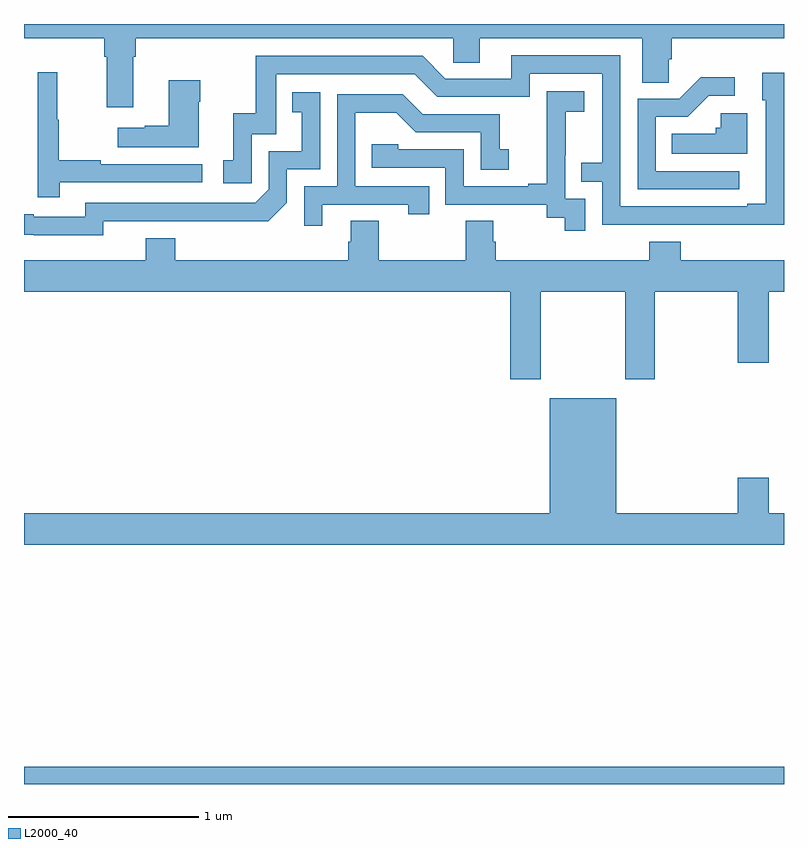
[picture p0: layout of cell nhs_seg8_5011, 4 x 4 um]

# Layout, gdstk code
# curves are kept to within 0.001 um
import gdstk
lib = gdstk.Library(unit=1e-6, precision=1e-09)
def R(c, l, rs):  # rectangles x0, y0, x1, y1
    for r in rs: c.add(gdstk.rectangle(r[:2], r[2:], *l))
def P(c, l, *ps):  # polygons
    for p in ps: c.add(gdstk.Polygon(p, *l))
L2000_40 = (2000, 40)

nhs_seg8_5011 = lib.new_cell('nhs_seg8_5011')
R(nhs_seg8_5011, L2000_40, [(413,1121.9,417,1121.992)])
P(nhs_seg8_5011, L2000_40, [(417,1125.9),(413,1125.9),(413,1125.824),(413.423,1125.824),(413.423,1125.728),(413.435,1125.728),(413.435,1125.462),(413.575,1125.462),(413.575,1125.728),(413.588,1125.728),(413.588,1125.824),(415.26,1125.824),(415.26,1125.697),(415.399,1125.697),(415.399,1125.824),(416.255,1125.824),(416.255,1125.592),(416.394,1125.592),(416.394,1125.715),(416.408,1125.715),(416.408,1125.824),(417,1125.824)],
  [(417,1125.643),(416.885,1125.643),(416.885,1125.498),(416.904,1125.498),(416.904,1124.953),(416.807,1124.953),(416.807,1124.94),(416.139,1124.94),(416.139,1125.735),(415.565,1125.735),(415.565,1125.612),(415.218,1125.612),(415.098,1125.732),(414.219,1125.732),(414.219,1125.43),(414.101,1125.43),(414.101,1125.183),(414.048,1125.183),(414.048,1125.063),(414.198,1125.063),(414.198,1125.321),(414.327,1125.321),(414.327,1125.636),(415.056,1125.636),(415.176,1125.516),(415.662,1125.516),(415.662,1125.639),(416.043,1125.639),(416.043,1125.17),(415.933,1125.17),(415.933,1125.069),(416.043,1125.069),(416.043,1124.844),(417,1124.843)],
  [(413.189,1125.066),(413.938,1125.066),(413.938,1125.162),(413.405,1125.162),(413.405,1125.182),(413.182,1125.182),(413.182,1125.396),(413.174,1125.396),(413.174,1125.646),(413.073,1125.646),(413.073,1124.988),(413.189,1124.988)],
  [(416.764,1125.126),(416.325,1125.126),(416.325,1125.411),(416.494,1125.411),(416.605,1125.522),(416.74,1125.522),(416.74,1125.62),(416.561,1125.62),(416.448,1125.507),(416.229,1125.507),(416.229,1125.03),(416.764,1125.03)],
  [(413.92,1125.491),(413.928,1125.491),(413.928,1125.604),(413.762,1125.604),(413.762,1125.365),(413.636,1125.365),(413.636,1125.355),(413.493,1125.355),(413.493,1125.251),(413.92,1125.251)],
  [(415.953,1124.979),(415.848,1124.979),(415.848,1125.209),(415.85,1125.209),(415.85,1125.437),(415.948,1125.437),(415.948,1125.547),(415.75,1125.547),(415.75,1125.341),(415.751,1125.341),(415.751,1125.058),(415.655,1125.058),(415.655,1125.045),(415.314,1125.045),(415.314,1125.24),(414.969,1125.24),(414.969,1125.267),(414.829,1125.267),(414.829,1125.144),(415.218,1125.144),(415.218,1124.949),(415.752,1124.949),(415.752,1124.881),(415.845,1124.881),(415.845,1124.811),(415.953,1124.811)],
  [(413.418,1124.862),(414.286,1124.861),(414.384,1124.958),(414.384,1125.135),(414.558,1125.135),(414.558,1125.541),(414.412,1125.541),(414.412,1125.435),(414.461,1125.435),(414.461,1125.231),(414.288,1125.231),(414.288,1125.03),(414.216,1124.958),(413.322,1124.958),(413.322,1124.886),(413.05,1124.886),(413.05,1124.899),(413,1124.899),(413,1124.79),(413.418,1124.789)],
  [(414.571,1124.949),(415.022,1124.949),(415.022,1124.898),(415.133,1124.898),(415.133,1125.045),(414.744,1125.045),(414.744,1125.434),(414.958,1125.434),(415.062,1125.33),(415.404,1125.33),(415.404,1125.132),(415.552,1125.132),(415.552,1125.241),(415.503,1125.241),(415.503,1125.426),(415.099,1125.426),(414.994,1125.531),(414.648,1125.531),(414.648,1125.045),(414.474,1125.045),(414.474,1124.838),(414.571,1124.838)],
  [(416.806,1125.43),(416.667,1125.43),(416.667,1125.354),(416.641,1125.354),(416.641,1125.322),(416.41,1125.322),(416.41,1125.218),(416.806,1125.218)],
  [(415.719,1124.492),(416.164,1124.492),(416.164,1124.031),(416.319,1124.031),(416.319,1124.492),(416.756,1124.492),(416.756,1124.118),(416.92,1124.118),(416.92,1124.492),(417,1124.492),(417,1124.656),(416.456,1124.656),(416.456,1124.755),(416.291,1124.755),(416.291,1124.656),(415.484,1124.656),(415.484,1124.754),(415.471,1124.754),(415.471,1124.864),(415.324,1124.864),(415.324,1124.656),(414.867,1124.656),(414.867,1124.864),(414.719,1124.864),(414.719,1124.754),(414.707,1124.754),(414.707,1124.656),(413.795,1124.656),(413.795,1124.773),(413.642,1124.773),(413.642,1124.656),(413,1124.656),(413,1124.492),(415.559,1124.492),(415.559,1124.031),(415.719,1124.031)],
  [(417,1123.324),(416.92,1123.324),(416.92,1123.513),(416.756,1123.513),(416.756,1123.324),(416.116,1123.324),(416.116,1123.93),(415.766,1123.93),(415.766,1123.324),(413,1123.324),(413,1123.16),(417,1123.16)])

lib.write_gds('nhs_seg8_5011.gds')
